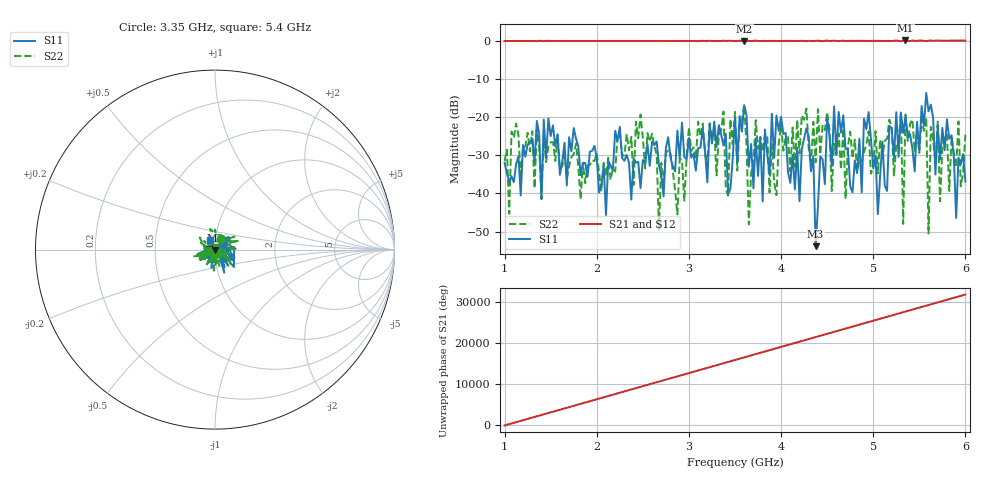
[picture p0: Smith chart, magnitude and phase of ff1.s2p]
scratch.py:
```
import skrf as rf
import os
from matplotlib import pyplot as plt
from matplotlib import style

start = 0

freq_s = '3.6ghz'
freq_v = float(freq_s[:-3]) * 1e9

ff1 = rf.Network("..\\Adapters\\ff1.s2p")
ff2 = rf.Network("..\\Adapters\\ff1.s2p")
# cascade 2 f-f adapters
ff_total = ff1 ** ff2
#ff_total.plot_s_db(m=0, n=0)

for chan in range(1,4):
    plt.figure("Bad Adapters")

    mm = rf.Network("..\\Adapters\\" + str(chan) + ".s2p")
    # mm.plot_s_db(m=0, n=1)


    #deembed the 2 adapters from the m-m measurement
    adapter = mm ** ff_total.inv
    adapter.plot_s_db(m=1, n=0)


# label the plot
# plt.figure("Good Adapter")
good_adapter = rf.Network("..\\Adapters\\goodmm.s2p")
good_adapter = good_adapter ** ff_total.inv
good_adapter.plot_s_db(m=1, n=0)

MagVal = good_adapter[freq_s].s21.s_db[0][0][0]

with style.context('seaborn-ticks'):
    plt.title('ADRF5545 AH Board Trace Loss');
    plt.axes.axvline(x=3.6e9,ymax=2, ymin=-2)
    plt.text(freq_v, MagVal, str(round(MagVal, 3)));

done = 0
```
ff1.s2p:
!Keysight Technologies,E5080A,MY55100170,A.11.70.00
!Date: Tuesday, August 20, 2019 22:48:50
!Correction: S11(Full 2 Port(1,2))
!S21(Full 2 Port(1,2))
!S12(Full 2 Port(1,2))
!S22(Full 2 Port(1,2))
!S2P File: Measurements: S11, S21, S12, S22:
# Hz S  dB  R 50
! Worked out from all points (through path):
!   201 points, 1 GHz to 6 GHz, reference 50 ohm
!   highest |S21| = 0.12 dB at 5.35 GHz (marker M1); lowest = -0.1 dB at 3.6 GHz (marker M2)
!   lowest |S11| = -53.8 dB at 4.375 GHz (marker M3), VSWR 1.00, Z = 50 - j0.201 ohm
!   |S11| at or under -10 dB: start of sweep to end of sweep
!   |S22| runs from -50.5 to -16.8 dB; largest |S21 - S12| = 0.0089
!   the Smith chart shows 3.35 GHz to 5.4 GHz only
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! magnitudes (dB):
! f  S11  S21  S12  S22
! 1 GHz  -32.0  0.0  0.0  -31.5
! 3.5 GHz  -20.0  0.0  -0.1  -18.6
! 3.6 GHz  -16.9  -0.1  -0.1  -16.8
! 3.65 GHz  -33.0  0.0  0.0  -48.1
! 4.375 GHz  -53.8  0.0  0.0  -31.8
! 4.575 GHz  -17.2  0.1  0.1  -27.0
! 5.3 GHz  -18.8  -0.1  -0.1  -19.1
! 5.325 GHz  -24.1  0.1  0.0  -48.0
! 5.35 GHz  -19.7  0.1  0.1  -19.3
! 5.6 GHz  -18.5  0.1  0.1  -50.5
! 6 GHz  -36.9  0.1  0.1  -24.6
